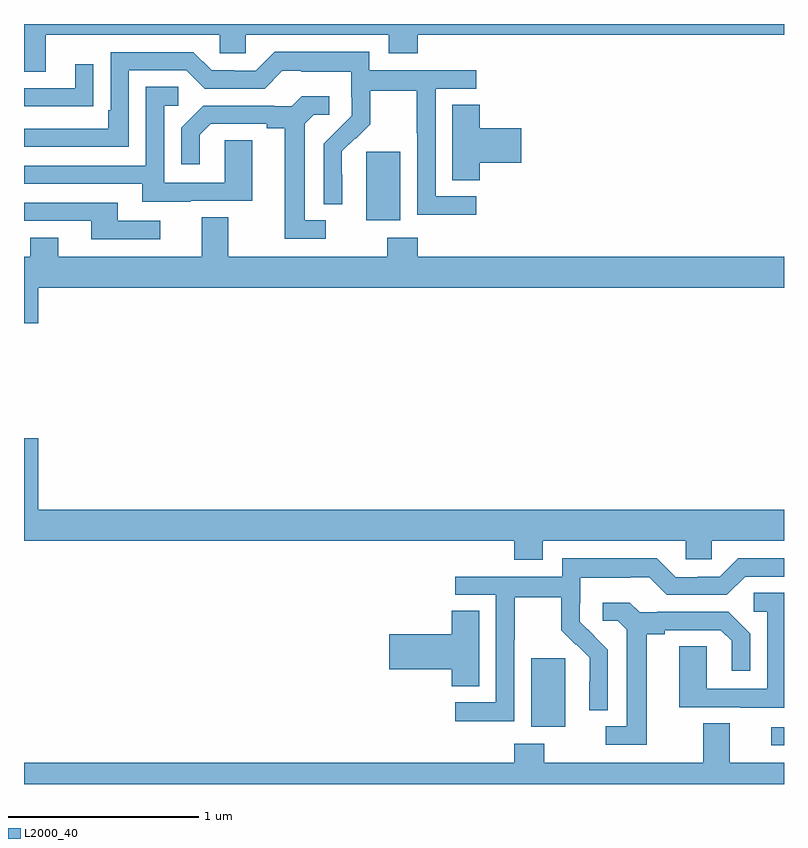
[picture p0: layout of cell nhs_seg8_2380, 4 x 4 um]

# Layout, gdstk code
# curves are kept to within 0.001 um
import gdstk
lib = gdstk.Library(unit=1e-6, precision=1e-09)
def R(c, l, rs):  # rectangles x0, y0, x1, y1
    for r in rs: c.add(gdstk.rectangle(r[:2], r[2:], *l))
def P(c, l, *ps):  # polygons
    for p in ps: c.add(gdstk.Polygon(p, *l))
L2000_40 = (2000, 40)

nhs_seg8_2380 = lib.new_cell('nhs_seg8_2380')
R(nhs_seg8_2380, L2000_40, [(264.933,1102.104,265,1102.2), (263.669,1102.202,263.848,1102.563), (262.802,1104.866,262.981,1105.227)])
P(nhs_seg8_2380, L2000_40, [(261.115,1105.844),(262.029,1105.844),(262.029,1105.746),(262.167,1105.746),(262.167,1105.844),(262.919,1105.844),(262.919,1105.745),(263.072,1105.745),(263.072,1105.844),(265,1105.844),(265,1105.9),(261,1105.9),(261,1105.65),(261.115,1105.65)],
  [(263.38,1104.993),(263.166,1104.993),(263.166,1105.56),(263.38,1105.56),(263.38,1105.656),(262.818,1105.656),(262.818,1105.753),(262.321,1105.753),(262.221,1105.653),(262.106,1105.653),(262.106,1105.656),(261.987,1105.656),(261.891,1105.752),(261.456,1105.752),(261.456,1105.447),(261.443,1105.447),(261.443,1105.35),(261,1105.35),(261,1105.254),(261.552,1105.254),(261.552,1105.656),(261.855,1105.656),(261.951,1105.56),(262.266,1105.56),(262.359,1105.653),(262.459,1105.653),(262.459,1105.649),(262.722,1105.649),(262.722,1105.515),(262.724,1105.515),(262.724,1105.418),(262.578,1105.27),(262.578,1104.952),(262.674,1104.952),(262.673,1105.229),(262.743,1105.299),(262.746,1105.296),(262.823,1105.373),(262.823,1105.548),(263.068,1105.548),(263.068,1105.324),(263.07,1105.324),(263.07,1104.895),(263.38,1104.895)],
  [(261.263,1105.468),(261.365,1105.468),(261.365,1105.687),(261.269,1105.687),(261.269,1105.563),(261,1105.563),(261,1105.467),(261.263,1105.467)],
  [(261.877,1104.969),(262.201,1104.969),(262.201,1105.289),(262.056,1105.289),(262.056,1105.065),(261.738,1105.065),(261.738,1105.47),(261.811,1105.47),(261.811,1105.571),(261.642,1105.571),(261.642,1105.155),(261,1105.155),(261,1105.059),(261.623,1105.059),(261.623,1104.965),(261.877,1104.965)],
  [(262.588,1104.867),(262.477,1104.867),(262.477,1105.375),(262.524,1105.422),(262.606,1105.422),(262.606,1105.519),(262.462,1105.519),(262.41,1105.467),(262.316,1105.467),(262.316,1105.47),(261.944,1105.47),(261.828,1105.354),(261.828,1105.161),(261.925,1105.161),(261.925,1105.317),(261.982,1105.374),(262.277,1105.374),(262.277,1105.352),(262.373,1105.352),(262.373,1104.771),(262.588,1104.771)],
  [(263.399,1105.169),(263.617,1105.169),(263.617,1105.352),(263.399,1105.352),(263.399,1105.475),(263.255,1105.475),(263.255,1105.078),(263.399,1105.078)],
  [(261.718,1104.864),(261.493,1104.864),(261.493,1104.96),(261,1104.96),(261,1104.864),(261.353,1104.864),(261.353,1104.768),(261.718,1104.768)],
  [(261.076,1104.512),(265,1104.512),(265,1104.676),(263.072,1104.676),(263.072,1104.775),(262.912,1104.775),(262.912,1104.676),(262.075,1104.676),(262.075,1104.884),(261.935,1104.884),(261.935,1104.676),(261.181,1104.676),(261.181,1104.775),(261.034,1104.775),(261.034,1104.676),(261,1104.676),(261,1104.324),(261.076,1104.324)],
  [(263.731,1103.18),(264.483,1103.18),(264.483,1103.082),(264.621,1103.082),(264.621,1103.18),(265,1103.18),(265,1103.344),(261.076,1103.344),(261.076,1103.719),(261,1103.719),(261,1103.18),(263.579,1103.18),(263.579,1103.081),(263.731,1103.081)],
  [(263.58,1102.66),(263.583,1102.66),(263.583,1102.884),(263.827,1102.884),(263.827,1102.709),(263.904,1102.632),(263.907,1102.635),(263.978,1102.565),(263.978,1102.442),(263.976,1102.442),(263.976,1102.288),(264.072,1102.288),(264.072,1102.606),(263.926,1102.754),(263.926,1102.851),(263.928,1102.851),(263.928,1102.985),(264.191,1102.985),(264.191,1102.989),(264.291,1102.989),(264.384,1102.896),(264.699,1102.896),(264.795,1102.992),(265,1102.992),(265,1103.088),(264.759,1103.088),(264.663,1102.992),(264.545,1102.992),(264.545,1102.989),(264.429,1102.989),(264.329,1103.089),(263.832,1103.089),(263.832,1102.992),(263.271,1102.992),(263.271,1102.896),(263.484,1102.896),(263.484,1102.329),(263.271,1102.329),(263.271,1102.231),(263.58,1102.231)],
  [(265,1102.907),(264.84,1102.907),(264.84,1102.806),(264.912,1102.806),(264.912,1102.401),(264.594,1102.401),(264.594,1102.625),(264.449,1102.625),(264.449,1102.305),(264.773,1102.305),(264.773,1102.301),(265,1102.301)],
  [(264.277,1102.688),(264.373,1102.688),(264.373,1102.71),(264.668,1102.71),(264.725,1102.653),(264.725,1102.497),(264.822,1102.497),(264.822,1102.69),(264.706,1102.806),(264.334,1102.806),(264.334,1102.803),(264.24,1102.803),(264.188,1102.855),(264.045,1102.855),(264.045,1102.758),(264.126,1102.758),(264.173,1102.711),(264.173,1102.203),(264.063,1102.203),(264.063,1102.107),(264.277,1102.107)],
  [(263.395,1102.811),(263.252,1102.811),(263.252,1102.688),(262.923,1102.688),(262.923,1102.505),(263.252,1102.505),(263.252,1102.414),(263.395,1102.414)],
  [(265,1102.012),(264.715,1102.012),(264.715,1102.22),(264.575,1102.22),(264.575,1102.012),(263.739,1102.012),(263.739,1102.111),(263.579,1102.111),(263.579,1102.012),(261,1102.012),(261,1101.9),(265,1101.9)])

lib.write_gds('nhs_seg8_2380.gds')
